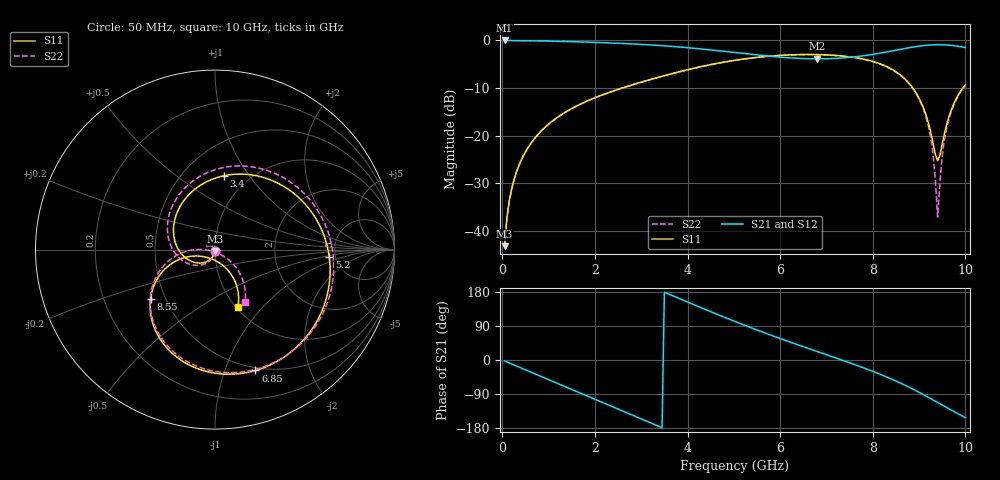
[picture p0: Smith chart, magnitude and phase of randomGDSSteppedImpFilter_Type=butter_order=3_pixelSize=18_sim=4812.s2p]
! freq	dB(S11)	phase(S11)	dB(S12)	phase(S12)
!  dB(S21)	phase(S21)	dB(S22)	phase(S22)
!S-par simulation data
#  GHz  S  DB  R 50
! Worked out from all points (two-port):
!   200 points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, 50 MHz to 10 GHz, reference 50 ohm
!   highest |S21| = 0.00 dB at 50 MHz (marker M1); lowest = -3.9 dB at 6.8 GHz (marker M2)
!   |S21| within 3 dB of the highest: start of sweep to 5.451 GHz; 7.952 GHz to end of sweep
!   lowest |S11| = -43.2 dB at 50 MHz (marker M3), VSWR 1.01, Z = 50 - j0.695 ohm
!   |S11| at or under -10 dB: start of sweep to 2.582 GHz; 8.865 GHz to 9.943 GHz (1.078 GHz wide, 11.5 % of centre)
!   |S22| runs from -43.1 to -3.0 dB; largest |S21 - S12| = 0
!   S11 on the Smith chart (normalised r, x): 50 MHz: 1.00, -0.01; 3.4 GHz: 0.77, +0.77; 5.2 GHz: 4.44, -0.60; 6.85 GHz: 0.47, -1.28; 8.55 GHz: 0.41, -0.28; 10 GHz: 1.02, -0.74
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0.05  -43.16 -91.9  -0.00 -2.6  -0.00 -2.6  -43.10 -91.0
0.2  -31.25 -101.1  -0.02 -10.4  -0.02 -10.4  -31.24 -99.3
0.5  -23.39 -118.8  -0.05 -26.0  -0.05 -26.0  -23.39 -114.3
1.15  -16.42 -155.5  -0.17 -59.6  -0.17 -59.6  -16.41 -145.5
1.75  -13.07 171.1  -0.33 -90.5  -0.33 -90.5  -13.08 -174.3
2.65  -9.79 122.2  -0.65 -137.0  -0.65 -137.0  -9.80 141.4
3.4  -7.64 82.9  -1.06 -176.0  -1.06 -176.0  -7.67 102.9
4.3  -5.47 38.1  -1.79 137.6  -1.79 137.6  -5.50 55.5
5.05  -4.12 3.1  -2.57 100.4  -2.57 100.4  -4.14 17.0
5.2  -3.91 -3.6  -2.74 93.2  -2.74 93.2  -3.93 9.6
6.7  -2.95 -65.6  -3.85 26.6  -3.85 26.6  -2.97 -59.0
6.8  -2.96 -69.6  -3.85 22.4  -3.85 22.4  -2.98 -63.3
6.85  -2.97 -71.5  -3.85 20.3  -3.85 20.3  -3.00 -65.5
7.6  -3.57 -101.1  -3.45 -11.7  -3.45 -11.7  -3.60 -97.7
8.35  -5.72 -133.4  -2.33 -47.4  -2.33 -47.4  -5.77 -133.0
8.55  -6.91 -142.7  -1.95 -58.2  -1.95 -58.2  -6.97 -143.6
9.15  -15.65 -165.4  -1.02 -95.1  -1.02 -95.1  -16.14 -177.0
9.3  -21.47 -153.9  -0.92 -105.2  -0.92 -105.2  -23.67 179.7
9.4  -25.21 -112.8  -0.90 -112.0  -0.90 -112.0  -37.01 -115.7
9.5  -21.76 -69.4  -0.91 -118.9  -0.91 -118.9  -24.17 -37.3
9.6  -17.47 -58.0  -0.96 -125.7  -0.96 -125.7  -18.23 -38.0
10  -9.30 -68.1  -1.47 -152.1  -1.47 -152.1  -9.44 -60.2
